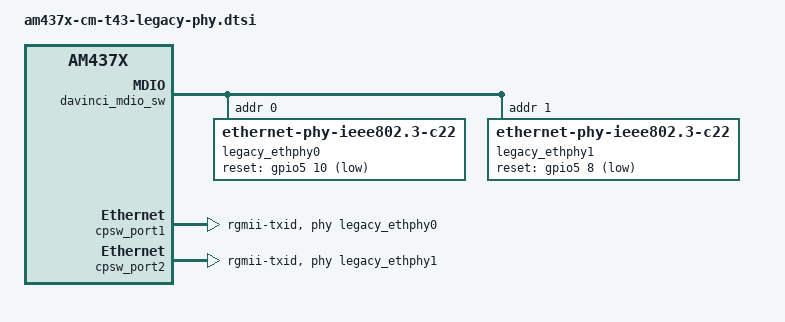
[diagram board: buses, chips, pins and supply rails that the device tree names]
// SPDX-License-Identifier: GPL-2.0-only
/*
 * Ethernet PHY configuration for legacy CM-T43 modules.
 *
 * Legacy modules use Qualcomm Atheros PHYs at MDIO addresses 0 and 1.
 */

&davinci_mdio_sw {
	/delete-node/ ethernet-phy@4;
	/delete-node/ ethernet-phy@5;

	legacy_ethphy0: ethernet-phy@0 {
		compatible = "ethernet-phy-ieee802.3-c22";
		reg = <0>;
		reset-gpios = <&gpio5 10 GPIO_ACTIVE_LOW>;
		reset-assert-us = <20000>;
		reset-deassert-us = <100000>;
	};

	legacy_ethphy1: ethernet-phy@1 {
		compatible = "ethernet-phy-ieee802.3-c22";
		reg = <1>;
		reset-gpios = <&gpio5 8 GPIO_ACTIVE_LOW>;
		reset-assert-us = <20000>;
		reset-deassert-us = <100000>;
	};
};

&cpsw_port1 {
	phy-handle = <&legacy_ethphy0>;
	phy-mode = "rgmii-txid";
};

&cpsw_port2 {
	phy-handle = <&legacy_ethphy1>;
	phy-mode = "rgmii-txid";
};
